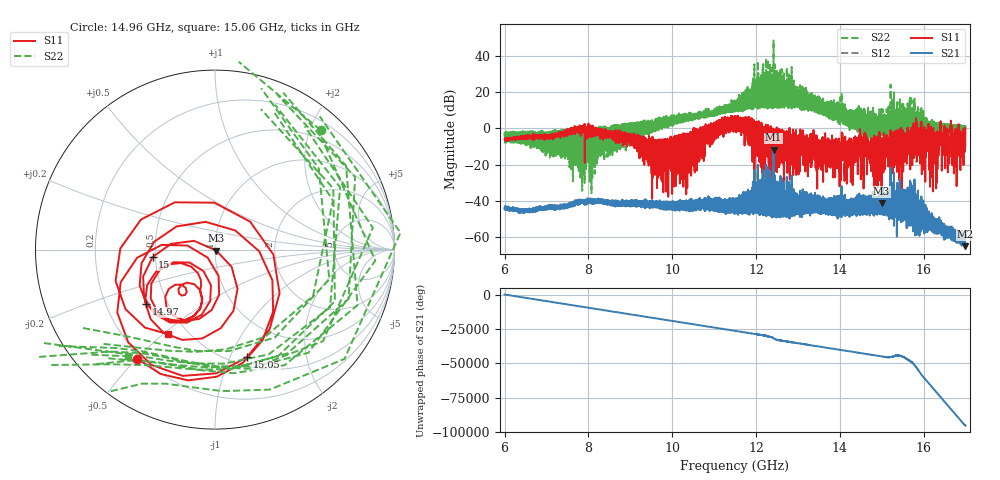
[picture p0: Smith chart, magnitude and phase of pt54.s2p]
#  HZ  S  RI  R  50.00
! Rohde & Schwarz Vector Network Analyzer
! Rohde-Schwarz,ZNA67-2Port,1332450062101215,3.01
! Created: UTC 10/16/2026, 10:14:57 AM
! freq[Hz]  re:S11  im:S11  re:S21  im:S21  re:S12  im:S12  re:S22  im:S22
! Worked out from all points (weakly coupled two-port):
!   11001 points, 6 GHz to 17 GHz, reference 50 ohm
!   highest |S21| = -11.74 dB at 12.42 GHz (marker M1); lowest = -64.9 dB at 16.99 GHz (marker M2)
!   lowest |S11| = -41.2 dB at 15 GHz (marker M3), VSWR 1.02, Z = 50.7 - j0.519 ohm
!   |S11| at or under -10 dB: 13.60834 GHz to 13.63739 GHz (29.05 MHz wide, 0.213 % of centre); 14.14722 GHz to 14.17364 GHz (26.43 MHz wide, 0.187 % of centre); 14.70282 GHz to 14.74069 GHz (37.87 MHz wide, 0.257 % of centre) (the widest 3 of 457)
!   |S22| runs from -35.8 to 48.4 dB; largest |S21 - S12| = 0.0094
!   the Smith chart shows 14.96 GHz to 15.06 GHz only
!   S11 on the Smith chart (normalised r, x): 14.96 GHz: 0.18, -0.50; 14.97 GHz: 0.38, -0.30; 15 GHz: 0.48, -0.05; 15.05 GHz: 0.59, -1.16; 15.06 GHz: 0.39, -0.52
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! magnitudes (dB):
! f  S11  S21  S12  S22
! 6 GHz  -5.9  -43.9  -43.9  -4.1
! 7.834 GHz  -0.3  -40.1  -39.9  -0.8
! 9.667 GHz  -6.2  -41.0  -41.3  5.3
! 11.5 GHz  6.6  -44.9  -44.9  11.0
! 12.42 GHz  -13.0  -11.7  -11.7  48.4
! 13.33 GHz  -10.4  -44.7  -44.6  12.2
! 14.15 GHz  -19.7  -47.7  -47.7  2.3
! 14.45 GHz  -9.0  -46.9  -47.0  -0.9
! 14.96 GHz  -2.5  -43.8  -43.6  -1.0
! 14.97 GHz  -6.2  -44.0  -44.0  0.9
! 15 GHz  -41.2  -45.2  -45.2  -2.1
! 15 GHz  -9.1  -41.9  -42.1  0.3
! 15.05 GHz  -4.1  -46.4  -46.3  -3.2
! 15.06 GHz  -5.4  -46.7  -46.8  -2.3
! 15.17 GHz  -9.6  -34.9  -35.0  12.0
! 15.68 GHz  -8.8  -39.7  -39.4  5.2
! 15.8 GHz  -3.7  -49.2  -48.9  -0.1
! 16.19 GHz  -11.6  -51.9  -52.0  -0.3
! 16.69 GHz  -15.8  -54.9  -54.7  0.9
! 16.74 GHz  -1.2  -59.6  -59.2  1.0
! 16.99 GHz  -7.8  -64.9  -64.9  -0.7
! 17 GHz  0.2  -59.8  -59.9  0.9
